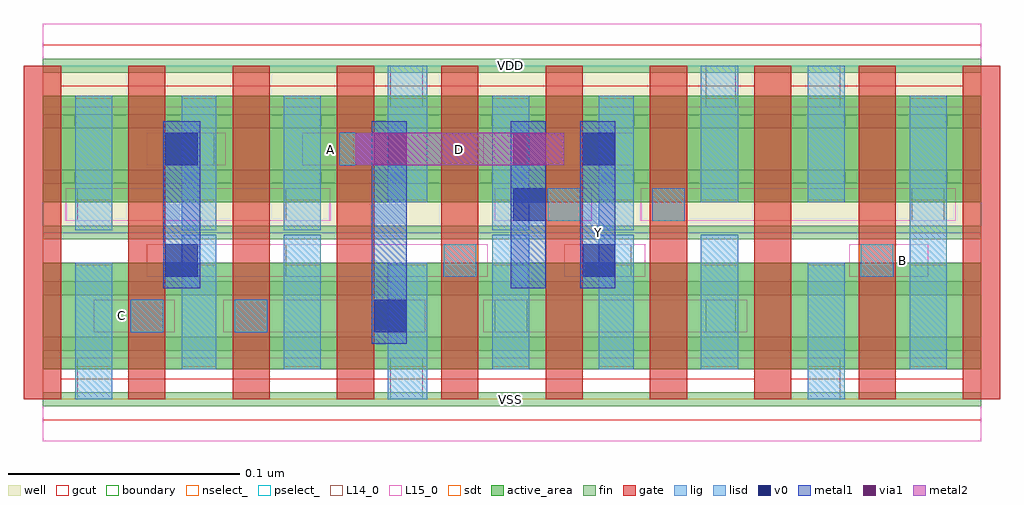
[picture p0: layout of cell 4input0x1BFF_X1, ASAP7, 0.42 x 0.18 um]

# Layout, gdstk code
import gdstk
lib = gdstk.Library(unit=1e-6, precision=1e-09)
def R(c, l, rs):  # rectangles x0, y0, x1, y1
    for r in rs: c.add(gdstk.rectangle(r[:2], r[2:], *l))
def A(c, l, x, y, w, h, nx, ny, dx, dy):  # array of equal rectangles
    R(c, l, [(x+i*dx, y+j*dy, x+i*dx+w, y+j*dy+h) for i in range(nx) for j in range(ny)])
def P(c, l, *ps):  # polygons
    for p in ps: c.add(gdstk.Polygon(p, *l))
well = (1, 0)
fin = (2, 0)
gate = (7, 0)
gcut = (10, 0)
active_area = (11, 0)
nselect_ = (12, 0)
pselect_ = (13, 0)
L14_0 = (14, 0)
L15_0 = (15, 0)
lig = (16, 0)
lisd = (17, 0)
v0 = (18, 0)
metal1 = (19, 0)
metal2 = (20, 0)
via1 = (21, 0)
sdt = (88, 0)
boundary = (100, 0)

c_4input0x1bff_x1 = lib.new_cell('4input0x1BFF_X1')
R(c_4input0x1bff_x1, well, [(0,0.072,0.405,0.144)])
A(c_4input0x1bff_x1, fin, 0, -0.003, 0.405, 0.006, 1, 7, 0, 0.024)
A(c_4input0x1bff_x1, gate, -0.008, 0, 0.016, 0.144, 10, 1, 0.045, 0)
P(c_4input0x1bff_x1, gcut, [(0,-0.009),(0,0),(-0.008,0),(-0.008,0.135),(0.008,0.135),(0.008,0.009),(0.307,0.009),(0.307,0.135),(0.323,0.135),(0.323,0.009),(0.397,0.009),(0.397,0.135),(-0.008,0.135),(-0.008,0.144),(0,0.144),(0,0.153),(0.405,0.153),(0.405,0.144),(0.413,0.144),(0.413,0),(0.405,0),(0.405,-0.009)])
R(c_4input0x1bff_x1, active_area, [(0,0.013,0.405,0.059), (0,0.085,0.405,0.131)])
R(c_4input0x1bff_x1, nselect_, [(0,0,0.405,0.072)])
R(c_4input0x1bff_x1, pselect_, [(0,0.072,0.405,0.144)])
R(c_4input0x1bff_x1, L14_0, [(0.015,0,0.03,0.018), (0.15,0,0.164,0.018), (0.33,0,0.344,0.018), (0.038,0.029,0.052,0.043), (0.083,0.029,0.097,0.043), (0.195,0.029,0.209,0.043), (0.286,0.029,0.299,0.043), (0.105,0.053,0.12,0.067), (0.173,0.053,0.187,0.067), (0.24,0.053,0.254,0.067), (0.353,0.053,0.367,0.067), (0.015,0.077,0.03,0.091), (0.105,0.077,0.12,0.091), (0.218,0.077,0.232,0.091), (0.263,0.077,0.277,0.091), (0.375,0.077,0.389,0.091), (0.06,0.101,0.074,0.115), (0.128,0.101,0.142,0.115), (0.195,0.101,0.209,0.115), (0.15,0.126,0.164,0.144), (0.286,0.126,0.299,0.144), (0.33,0.126,0.344,0.144)])
R(c_4input0x1bff_x1, L15_0, [(0,-0.018,0.405,0.018), (0.022,0.029,0.057,0.043), (0.078,0.029,0.165,0.043), (0.19,0.029,0.304,0.043), (0.045,0.053,0.192,0.067), (0.225,0.053,0.26,0.067), (0.348,0.053,0.382,0.067), (0.01,0.077,0.124,0.091), (0.195,0.077,0.237,0.091), (0.258,0.077,0.394,0.091), (0.045,0.101,0.079,0.115), (0.112,0.101,0.147,0.115), (0.19,0.101,0.255,0.115), (0,0.126,0.405,0.162)])
R(c_4input0x1bff_x1, lig, [(0.038,0.029,0.052,0.043), (0.083,0.029,0.097,0.043), (0.173,0.053,0.187,0.067), (0.353,0.053,0.367,0.067), (0.218,0.077,0.232,0.091), (0.263,0.077,0.277,0.091), (0.128,0.101,0.142,0.115)])
A(c_4input0x1bff_x1, lisd, 0.104, 0.013, 0.016, 0.058, 3, 1, 0.09, 0)
A(c_4input0x1bff_x1, lisd, 0.014, 0.073, 0.016, 0.058, 3, 1, 0.09, 0)
R(c_4input0x1bff_x1, lisd, [(0.014,0,0.03,0.059), (0.149,0,0.166,0.059), (0.33,0,0.346,0.059), (0.06,0.013,0.075,0.071), (0.24,0.013,0.255,0.071), (0.374,0.013,0.39,0.131), (0.06,0.073,0.075,0.131), (0.24,0.073,0.255,0.131), (0.149,0.085,0.166,0.144), (0.284,0.085,0.3,0.144), (0.33,0.085,0.346,0.144)])
R(c_4input0x1bff_x1, v0, [(0.143,0.029,0.157,0.043), (0.053,0.053,0.067,0.067), (0.233,0.053,0.247,0.067), (0.203,0.077,0.217,0.091), (0.053,0.101,0.067,0.115), (0.233,0.101,0.247,0.115)])
R(c_4input0x1bff_x1, metal1, [(0.142,0.024,0.157,0.12), (0.052,0.048,0.068,0.12), (0.202,0.048,0.217,0.12), (0.232,0.048,0.247,0.12)])
R(c_4input0x1bff_x1, metal2, [(0.135,0.101,0.225,0.115)])
R(c_4input0x1bff_x1, via1, [(0.143,0.101,0.157,0.115), (0.203,0.101,0.217,0.115)])
A(c_4input0x1bff_x1, sdt, 0.014, 0.014, 0.016, 0.044, 4, 2, 0.09, 0.072)
R(c_4input0x1bff_x1, sdt, [(0.06,0.014,0.075,0.058), (0.149,0.014,0.166,0.058), (0.24,0.014,0.255,0.058), (0.33,0.014,0.346,0.058), (0.374,0.014,0.39,0.058), (0.06,0.086,0.075,0.13), (0.149,0.086,0.166,0.13), (0.24,0.086,0.255,0.13), (0.33,0.086,0.346,0.13), (0.374,0.086,0.39,0.13)])
R(c_4input0x1bff_x1, boundary, [(0,0,0.405,0.144)])
c_4input0x1bff_x1.add(gdstk.Label('A', (0.124,0.108), layer=15, texttype=251))
c_4input0x1bff_x1.add(gdstk.Label('VSS', (0.202,0), layer=15, texttype=251))
c_4input0x1bff_x1.add(gdstk.Label('VDD', (0.202,0.144), layer=15, texttype=251))
c_4input0x1bff_x1.add(gdstk.Label('C', (0.034,0.036), layer=15, texttype=251))
c_4input0x1bff_x1.add(gdstk.Label('VSS', (0.202,0), layer=15, texttype=251))
c_4input0x1bff_x1.add(gdstk.Label('VDD', (0.202,0.144), layer=15, texttype=251))
c_4input0x1bff_x1.add(gdstk.Label('VSS', (0.202,0), layer=15, texttype=251))
c_4input0x1bff_x1.add(gdstk.Label('VDD', (0.202,0.144), layer=15, texttype=251))
c_4input0x1bff_x1.add(gdstk.Label('B', (0.371,0.06), layer=15, texttype=251))
c_4input0x1bff_x1.add(gdstk.Label('VSS', (0.202,0), layer=15, texttype=251))
c_4input0x1bff_x1.add(gdstk.Label('VDD', (0.202,0.144), layer=15, texttype=251))
c_4input0x1bff_x1.add(gdstk.Label('VSS', (0.202,0), layer=15, texttype=251))
c_4input0x1bff_x1.add(gdstk.Label('VDD', (0.202,0.144), layer=15, texttype=251))
c_4input0x1bff_x1.add(gdstk.Label('VSS', (0.202,0), layer=3, texttype=251))
c_4input0x1bff_x1.add(gdstk.Label('VSS', (0.202,0), layer=3, texttype=251))
c_4input0x1bff_x1.add(gdstk.Label('VSS', (0.202,0), layer=3, texttype=251))
c_4input0x1bff_x1.add(gdstk.Label('VSS', (0.202,0), layer=3, texttype=251))
c_4input0x1bff_x1.add(gdstk.Label('VSS', (0.202,0), layer=3, texttype=251))
c_4input0x1bff_x1.add(gdstk.Label('VDD', (0.202,0.144), layer=1, texttype=251))
c_4input0x1bff_x1.add(gdstk.Label('VDD', (0.202,0.144), layer=1, texttype=251))
c_4input0x1bff_x1.add(gdstk.Label('VDD', (0.202,0.144), layer=1, texttype=251))
c_4input0x1bff_x1.add(gdstk.Label('VDD', (0.202,0.144), layer=1, texttype=251))
c_4input0x1bff_x1.add(gdstk.Label('VDD', (0.202,0.144), layer=1, texttype=251))
c_4input0x1bff_x1.add(gdstk.Label('D', (0.18,0.108), layer=20, texttype=251))
c_4input0x1bff_x1.add(gdstk.Label('Y', (0.24,0.072), layer=19, texttype=251))

lib.write_gds('4input0x1BFF_X1.gds')
